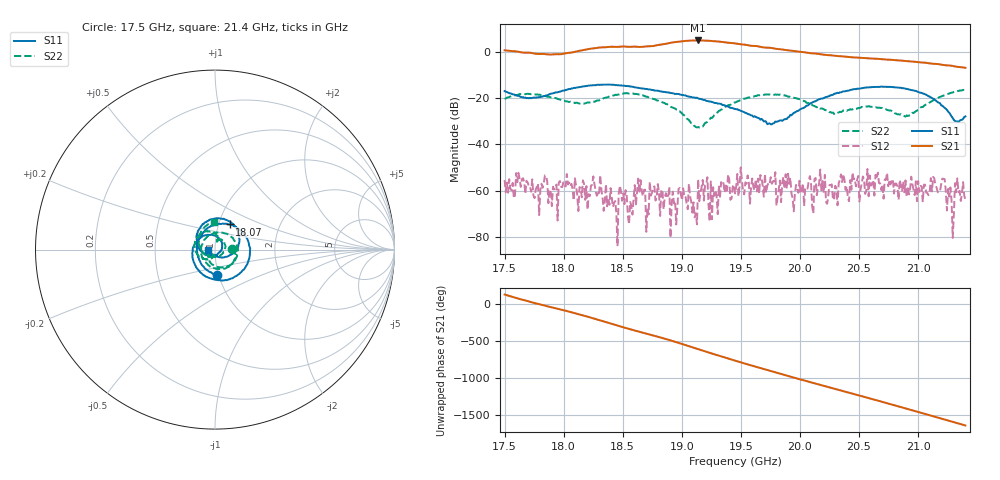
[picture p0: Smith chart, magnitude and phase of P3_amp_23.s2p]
!Created with skrf (http://scikit-rf.org).
# GHz S RI R 50.0
!freq ReS11 ImS11 ReS21 ImS21 ReS12 ImS12 ReS22 ImS22
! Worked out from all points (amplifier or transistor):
!   401 points, 17.5 GHz to 21.4 GHz, reference 50 ohm
!   highest |S21| = 5.0 dB at 19.14 GHz (marker M1)
!   |S21| within 3 dB of that: 18.32 GHz to 19.69 GHz (1.37 GHz wide, 7.21 % of centre)
!   unconditionally stable (mu >= 1): start of sweep to end of sweep
!   at 18.14 GHz: K = 389.52, MAG = 0.8 dB, |S12| = -58.8 dB
!   at 19.45 GHz: K = 371.60, MAG = 3.8 dB, |S12| = -61.2 dB
!   at 21.4 GHz: K = 1703.08, MAG = -6.7 dB, |S12| = -64.1 dB
!   S11 on the Smith chart (normalised r, x): 17.5 GHz: 0.98, -0.28; 18.07 GHz: 1.13, +0.32; 21.4 GHz: 0.92, -0.00
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17.5  0.0101 -0.1423  -0.721 0.817  -0.00167 0.000321  0.0963 0.00258
17.76325  -0.0985 0.0311  0.8939 0.2021  0.00044 0.00096  0.0683 -0.0982
18.0655  0.0813 0.1403  -0.2864 -0.9319  0.00131 0.000517  -0.0737 -0.037
18.15325  0.1415 0.1067  -0.8886 -0.6281  0.000576 -0.000428  -0.0751 0.0178
18.28  0.194 0.0136  -1.124 0.4922  -9.71e-05 -0.000771  -0.0199 0.0865
18.42625  0.1607 -0.1111  0.0911 1.29  0.000309 0.000436  0.0918 0.0698
18.6115  0.0168 -0.1705  1.306 0.0236  -0.000194 0.000465  0.1002 -0.0736
18.8065  -0.1056 -0.0976  0.1943 -1.418  -3.03e-05 -0.000894  -0.0107 -0.0857
19.0015  -0.1149 0.0261  -1.713 -0.1209  -0.000163 0.0006  -0.0349 -0.0314
19.138  -0.0632 0.0772  -0.723 1.626  -0.00119 0.0013  -0.0157 -0.0179
19.3135  0.00598 0.0763  1.531 0.7145  0.000841 0.000963  -0.0193 -0.0492
19.45  0.0334 0.0482  1.142 -1.026  0.000793 0.000351  -0.0631 -0.0503
19.57675  0.0399 0.0185  -0.2722 -1.349  0.000469 0.000231  -0.1022 -0.0194
19.73275  0.0228 -0.0165  -1.232 -0.1656  0.00139 -0.00045  -0.1058 0.0578
19.918  -0.0257 -0.0353  -0.2505 1.049  0.00116 -0.00152  -0.0321 0.102
20.10325  -0.0804 -0.00481  0.8746 0.3408  5.63e-05 -0.000451  0.0168 0.0691
20.3665  -0.0951 0.1038  -0.0459 -0.8018  -0.00217 0.000692  0.0119 0.0532
20.5615  -0.0207 0.169  -0.7332 -0.0243  6.2e-05 0.00101  0.0398 0.053
20.7565  0.0837 0.1553  -0.0655 0.6803  0.000695 0.00156  0.054 -0.00322
20.9515  0.1356 0.0603  0.6175 0.0804  0.00134 0.000263  -0.0225 -0.0429
21.13675  0.0908 -0.0284  0.1326 -0.5398  0.000826 -0.00165  -0.0883 0.0277
21.4  -0.0404 -0.00201  -0.4371 0.1299  -0.000538 0.000322  -0.00833 0.1553
